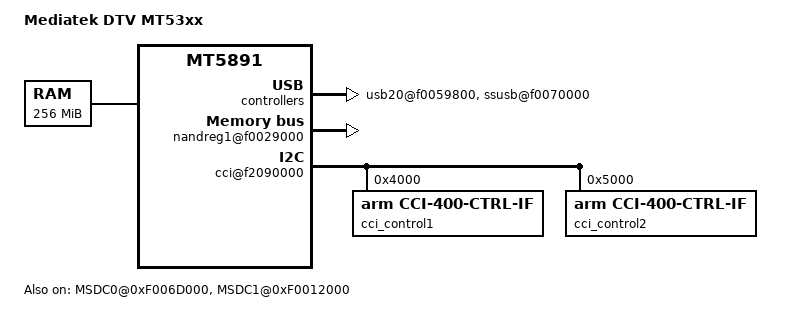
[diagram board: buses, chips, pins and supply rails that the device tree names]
/*
 * Device Tree for the Mediatek MT53xx platform
 */

/dts-v1/;

/ {
	model = "Mediatek DTV MT53xx";
	compatible = "Mediatek,MT53xx";
	interrupt-parent = <&gic>;

	memory {
		device_type = "memory";
		reg = <0 0x10000000>;
	};

	chosen {
		bootargs ="";
	};

	/* Do not put any bus before mtk-msdc, because it should be mtk-msdc.0 for partition device node usage */
	mtk-msdc {
		compatible = "simple-bus";
		#address-cells = <1>;
		#size-cells = <1>;
		ranges;

		/* eMMC */
		MSDC0@0xF006D000 {
			compatible = "Mediatek,MSDC0";
			reg = <0xF006D000 0x1000>;	/* MSDC0_BASE */
			interrupts = <0 140 4>;
			id = <0>;
			sclk-reg = <0xF000D380>;
			hclk-reg = <0xF000D384>;
			status = "okay";
		};

		/* SDMMC */
		MSDC1@0xF0012000 {
			compatible = "Mediatek,MSDC1";
			reg = <0xF0012000 0x1000>;	/* MSDC1_BASE */
			interrupts = <0 100 4>;
			id = <1>;
			sclk-reg = <0xF000D32C>;
			hclk-reg = <0xF000D3A0>;
			status = "okay";
		};
	};

	soc {
		compatible = "simple-bus";
		#address-cells = <1>;
		#size-cells = <1>;
		ranges;

		bim@f0000000 {
			compatible = "Mediatek, TVBIM";
			reg = <0xf0000000 0x300000>;
		};
		pdwnc@f0028000 {
			compatible = "Mediatek, PDWNC";
			reg = <0xf0028000 0x1000>;
		};
		ckgen@f000d000 {
			compatible = "Mediatek, CKGEN";
			reg = <0xf000d000 0x1000>;
		};
		rs232@f000c000 {
		compatible = "Mediatek, RS232";
		reg = <0xf000c000 0x1000>,
			  <0xf0028000 0x1000>,
			  <0xf000d000 0x1000>,
			  <0xf0008000 0x1000>;
		};
		starmac@f000d000 {
		compatible = "Mediatek, MAC";
		reg = <0xf0032000 0x140>,
			  <0xf000d400 0x140>,
			  <0xf000d000 0x140>,
			  <0xf0028000 0x140>;
	};
		usb20@f0059800 {
		compatible = "Mediatek, TVUSB20";
		reg = <0xf0059800 0x800>,
			 <0xf0050000 0x4000>,
		  	 <0xf0061A00 0x10>,
			 <0xf0028000 0x100>,
			 <0xf0059f00 0x20>,
			 <0xf0053f00 0x20>;
		};
		ssusb@f0070000 {
		compatible = "Mediatek, TVSSUSB";
		reg = <0xf000D5AC 0x10>, 
			 <0xf0070000 0x100>,
			 <0xf0070100 0x100>,
			 <0xf0070700 0xCC>,
		  	 <0xf0070800 0xFC>,
		  	 <0xf0070900 0x100>,
		  	 <0xf0070A00 0x100>,
		  	 <0xf0070B00 0x100>, 
		  	 <0xf0070C00 0x100>,
		  	 <0xf0074000 0x9F4>,
		  	 <0xf0076400 0x148>,
		  	 <0xf0076600 0xDC>,
		  	 <0xf0077400 0x60>,
		  	 <0xf0074000 0x10000>;
		};
		nandreg1@f0029000 {
			compatible = "Mediatek, NAND";
			reg = <0xf0029000 0x1000>,
				  <0xf000d000 0x1000>,
				  <0xf0008600 0xA00>;	  
		};
		gcpu@f0016000 {
			compatible = "Mediatek, GCPU";
			reg = <0xf0016000 0x1000>;
		};
        iommu@f0068000 {
			compatible = "Mediatek, IOMMU";
			reg = <0xf0068000 0x1000>;
		};
	};

	cpus {
		cpu0: cpu@0 {
			device_type = "cpu";
			compatible = "arm,cortex-a12";
            		cci-control-port = <&cci_control1>;
			reg = <0x0>;
			clock-frequency = <1000000000>;
		};

		cpu1: cpu@1 {
			device_type = "cpu";
			compatible = "arm,cortex-a12";
            		cci-control-port = <&cci_control1>;
			reg = <0x1>;
			clock-frequency = <1000000000>;
		};

		cpu2: cpu@2 {
			device_type = "cpu";
			compatible = "arm,cortex-a7";
			cci-control-port = <&cci_control2>;
			reg = <0x100>;
			clock-frequency = <1000000000>;
		};

		cpu3: cpu@3 {
			device_type = "cpu";
			compatible = "arm,cortex-a7";
			cci-control-port = <&cci_control2>;
			reg = <0x101>;
			clock-frequency = <1000000000>;
		};
	};

	cci@f2090000 {
		compatible = "arm,cci-400";
		#address-cells = <1>;
		#size-cells = <1>;
		reg = <0xf2090000 0x1000>;
		ranges = <0x0 0xf2090000 0x6000>;

		cci_control1: slave-if@4000 {
			compatible = "arm,cci-400-ctrl-if";
			interface-type = "ace";
			reg = <0x4000 0x1000>;
		};

		cci_control2: slave-if@5000 {
			compatible = "arm,cci-400-ctrl-if";
			interface-type = "ace";
			reg = <0x5000 0x1000>;
		};
	};

	gic: interrupt-controller@f2011000 {
		compatible = "arm,cortex-a15-gic";
		#interrupt-cells = <3>;
		#address-cells = <0>;
		interrupt-controller;
		reg = <0xf2011000 0x1000>,
			<0xf2012000 0x1000>;

		gic-cpuif@0 {
			compatible = "arm,gic-cpuif";
			cpuif-id = <0>;
			cpu = <&cpu0>;
		};
		gic-cpuif@2 {
			compatible = "arm,gic-cpuif";
			cpuif-id = <2>;
			cpu = <&cpu1>;
		};
	};

	system_timer {
		compatible = "mediatek,mt53xx-system-timer";
		reg = <0xf0008000 0x1000>;
			interrupt-parent = <&gic>;
		interrupts = <0 3 0x8>;
		clock-frequency = <24000000>;
	};

	timer {
		compatible = "arm,armv7-timer";
		interrupt-parent = <&gic>;
		/* PPI secure/nonsecure IRQ, active low level-sensitive */
		interrupts = <1 13 0xf08>,
			     <1 14 0xf08>;
		clock-frequency = <24000000>;
	};
bus {                                                                                                
	   compatible = "simple-bus";
	   #address-cells = <1>;
	   #size-cells = <1>;
	   ranges;

	MALI@0xf0040000 {
		compatible = "arm,malit624", "arm,malit62x", "arm,malit6xx", "arm,mali-midgard";
		reg = <0xf0040000 0x4000>;
		 interrupt-parent = <&gic>;
		 interrupts = <0 53 4>, <0 54 4>, <0 55 4>;
		 interrupt-names = "JOB", "MMU", "GPU";
		clock-frequency = <480000000>;
	};
	};

};
